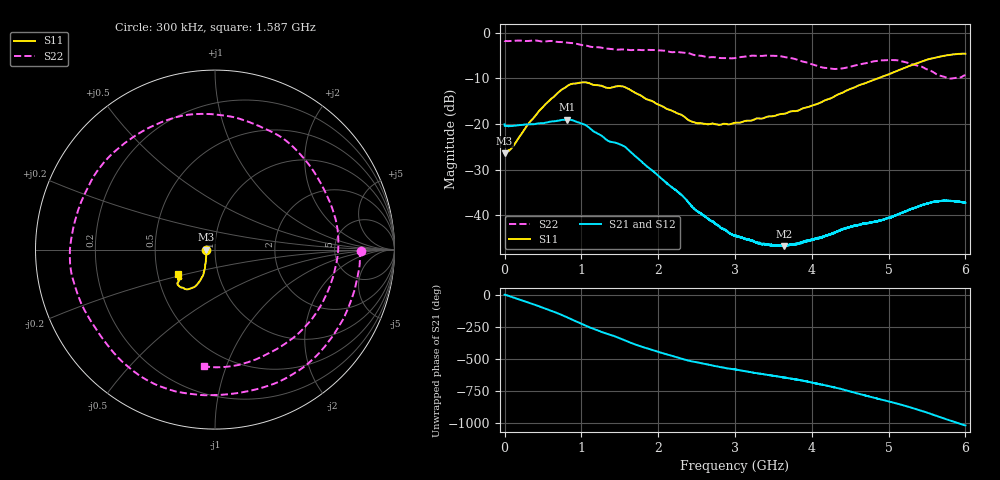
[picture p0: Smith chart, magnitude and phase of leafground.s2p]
!  8/6/2020  03:20:56
! Ref Plane: 0.000 mm
# MHZ S MA R  50
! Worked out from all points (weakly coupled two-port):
!   10001 points, 300 kHz to 6 GHz, reference 50 ohm
!   highest |S21| = -19.05 dB at 817.5 MHz (marker M1); lowest = -46.8 dB at 3.637 GHz (marker M2)
!   lowest |S11| = -26.5 dB at 300 kHz (marker M3), VSWR 1.10, Z = 45.5 + j0.0461 ohm
!   |S11| at or under -10 dB: start of sweep to 4.864 GHz
!   |S22| runs from -10.1 to -1.7 dB; largest |S21 - S12| = 0.0027
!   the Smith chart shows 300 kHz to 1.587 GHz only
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0.3  0.04756 179.4  0.09898 -1.0  0.09631 -0.9  0.8151 -0.4
357.2822  0.1115 -119.7  0.09911 -73.0  0.09929 -73.1  0.8195 -104.0
599.67  0.1867 -115.6  0.1061 -125.2  0.1064 -125.3  0.8115 -172.6
817.4591  0.2604 -122.8  0.1115 -179.0  0.1117 -179.1  0.7746 124.5
1000.45  0.2844 -132.9  0.1014 131.8  0.1014 131.8  0.7333 72.6
1256.037  0.2629 -141.0  0.07491 69.4  0.07513 69.4  0.6861 -0.6
1541.623  0.2573 -143.7  0.05789 7.6  0.05804 7.4  0.6559 -83.0
1791.81  0.2004 -147.6  0.03814 -48.7  0.03823 -48.8  0.644 -152.3
2000.6  0.1633 -143.4  0.02717 -88.0  0.02718 -88.1  0.6407 151.8
2260.387  0.1297 -133.2  0.01789 -133.2  0.01795 -133.3  0.6137 83.3
2541.173  0.1021 -110.8  0.01061 -173.5  0.01067 -173.7  0.5599 5.6
2781.161  0.09808 -91.5  0.007747 156.5  0.007825 156.7  0.5315 -65.0
3000.15  0.1028 -73.6  0.005919 134.1  0.006 134.8  0.5266 -130.0
3258.737  0.1125 -58.3  0.00511 107.3  0.005134 107.2  0.5589 160.3
3637.318  0.1291 -36.3  0.00459 71.4  0.004669 71.4  0.543 66.2
4000.3  0.1584 -16.1  0.005429 32.3  0.005469 32.7  0.4512 -30.2
4225.889  0.1881 -4.4  0.006174 3.4  0.006124 3.6  0.4077 -100.8
4489.275  0.2397 3.3  0.007426 -35.6  0.007474 -35.9  0.4203 176.1
4760.462  0.2943 7.1  0.008323 -79.0  0.00834 -79.0  0.4764 102.6
5000.45  0.3489 10.3  0.009413 -115.3  0.009336 -115.3  0.5002 45.0
5511.025  0.5088 7.3  0.01347 155.1  0.0135 154.9  0.3934 -79.7
6000  0.5881 -5.7  0.0137 57.2  0.01375 57.1  0.3433 120.7
